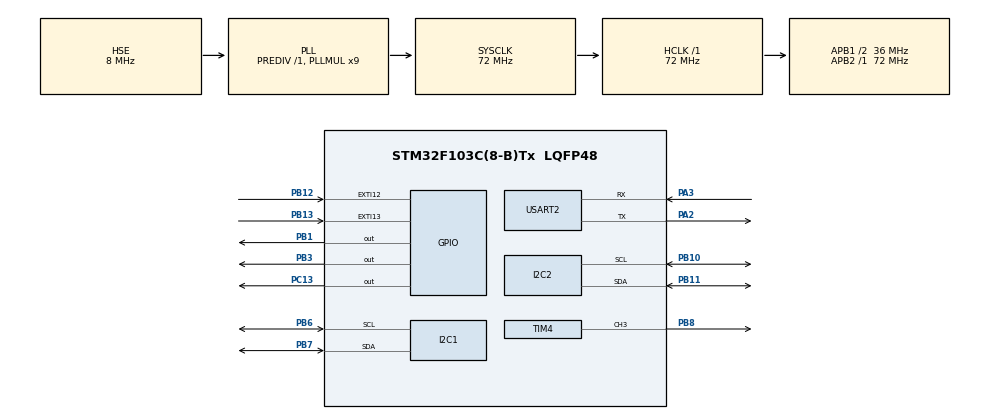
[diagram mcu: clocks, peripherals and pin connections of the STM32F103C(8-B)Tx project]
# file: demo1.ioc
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I2C1.I2C_Mode=I2C_Fast
I2C2.I2C_Mode=I2C_Fast
Mcu.Family=STM32F1
Mcu.Name=STM32F103C(8-B)Tx
Mcu.Package=LQFP48
NVIC.EXTI15_10_IRQn=true\:15\:0\:true\:false\:true\:true\:true\:true
NVIC.PriorityGroup=NVIC_PRIORITYGROUP_4
NVIC.USART2_IRQn=true\:0\:0\:false\:false\:true\:true\:true\:true
PA13.Mode=Serial_Wire
PA13.Signal=SYS_JTMS-SWDIO
PA14.Mode=Serial_Wire
PA14.Signal=SYS_JTCK-SWCLK
PA2.Mode=Asynchronous
PA2.Signal=USART2_TX
PA3.Mode=Asynchronous
PA3.Signal=USART2_RX
PB1.Signal=GPIO_Output
PB10.Mode=I2C
PB10.Signal=I2C2_SCL
PB11.Mode=I2C
PB11.Signal=I2C2_SDA
PB12.GPIO_ModeDefaultEXTI=GPIO_MODE_IT_FALLING
PB12.Signal=GPXTI12
PB13.GPIO_ModeDefaultEXTI=GPIO_MODE_IT_FALLING
PB13.GPIO_PuPd=GPIO_PULLUP
PB13.Signal=GPXTI13
PB3.Signal=GPIO_Output
PB6.Mode=I2C
PB6.Signal=I2C1_SCL
PB7.Mode=I2C
PB7.Signal=I2C1_SDA
PB8.Signal=S_TIM4_CH3
PC13-TAMPER-RTC.Signal=GPIO_Output
PD0-OSC_IN.Mode=HSE-External-Oscillator
PD0-OSC_IN.Signal=RCC_OSC_IN
PD1-OSC_OUT.Mode=HSE-External-Oscillator
PD1-OSC_OUT.Signal=RCC_OSC_OUT
ProjectManager.HeapSize=0x200
ProjectManager.StackSize=0x400
ProjectManager.TargetToolchain=MDK-ARM V5.32
RCC.AHBFreq_Value=72000000
RCC.APB1CLKDivider=RCC_HCLK_DIV2
RCC.APB1Freq_Value=36000000
RCC.APB1TimFreq_Value=72000000
RCC.APB2Freq_Value=72000000
RCC.APB2TimFreq_Value=72000000
RCC.HCLKFreq_Value=72000000
RCC.PLLMUL=RCC_PLL_MUL9
RCC.PLLSourceVirtual=RCC_PLLSOURCE_HSE
RCC.SYSCLKFreq_VALUE=72000000
RCC.SYSCLKSource=RCC_SYSCLKSOURCE_PLLCLK
RCC.USBFreq_Value=72000000
SH.S_TIM4_CH3.0=TIM4_CH3,PWM Generation3 CH3
TIM4.Channel-PWM\ Generation3\ CH3=TIM_CHANNEL_3
TIM4.Prescaler=720-1
USART2.VirtualMode=VM_ASYNC
VP_TIM4_VS_ClockSourceINT.Mode=Internal
board=custom

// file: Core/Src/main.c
/* USER CODE BEGIN Header */
/**
  ******************************************************************************
  * @file           : main.c
  * @brief          : Main program body
  ******************************************************************************
  * @attention
  *
  * Copyright (c) 2025 STMicroelectronics.
  * All rights reserved.
  *
  * This software is licensed under terms that can be found in the LICENSE file
  * in the root directory of this software component.
  * If no LICENSE file comes with this software, it is provided AS-IS.
  *
  ******************************************************************************
  */
/* USER CODE END Header */
#include "main.h"
#include "i2c.h"
#include "tim.h"
#include "usart.h"
#include "gpio.h"

/* USER CODE BEGIN Includes */
#include "oled.h"
#include "stdio.h"
#include "string.h"

/* USER CODE END Includes */

/* USER CODE BEGIN PD */
#define COUNT_MAX 40
#define ANGLE_MAX 180

 volatile uint8_t flag = 0;
 volatile uint8_t count=0;
 uint8_t receivedata[3]="";
 int angle=0;
/* USER CODE END PD */

void SystemClock_Config(void);

/* USER CODE BEGIN 0 */
void MPU6050_INIT()
{
HAL_Delay(100);
uint8_t SendAddress=0x6b;
uint8_t SendData=0x00;//解除休眠
HAL_I2C_Mem_Write(&hi2c2,0xD1,SendAddress,1,&SendData,1,0xff);

SendAddress=0x19;
SendData=0x07;//采样率分频器
HAL_I2C_Mem_Write(&hi2c2,0xD1,SendAddress,1,&SendData,1,0xff);

SendAddress=0x1A;
SendData=0x06;//低通滤波器
HAL_I2C_Mem_Write(&hi2c2,0xD1,SendAddress,1,&SendData,1,0xff);

SendAddress=0x1B;
SendData=0x08;//陀螺仪 +-500°
HAL_I2C_Mem_Write(&hi2c2,0xD1,SendAddress,1,&SendData,1,0xff);

SendAddress=0x1C;
SendData=0x00;//加速度计 +-2g
HAL_I2C_Mem_Write(&hi2c2,0xD1,SendAddress,1,&SendData,1,0xff);

}

void HAL_UART_RxCpltCallback(UART_HandleTypeDef *huart)
{
	HAL_UART_Transmit_IT(&huart2,receivedata,3);
	if(receivedata[0]=='0')
	{
		//angle=(int)receivedata[1]*10+(int)receivedata[2];
		angle=((int)receivedata[1]-48)*10+(int)receivedata[2]-48;

	}
	else if(receivedata[0]=='1')
	{
		angle=100+((int)receivedata[1]-48)*10+(int)receivedata[2]-48;

	}
	HAL_UART_Receive_IT(&huart2,receivedata,3);
}

/* USER CODE END 0 */

int main(void)
{

  /* MCU Configuration--------------------------------------------------------*/

  /* Reset of all peripherals, Initializes the Flash interface and the Systick. */
  HAL_Init();

  /* Configure the system clock */
  SystemClock_Config();

  /* Initialize all configured peripherals */
  MX_GPIO_Init();
  MX_I2C1_Init();
  MX_TIM4_Init();
  MX_I2C2_Init();
  MX_USART2_UART_Init();
  /* USER CODE BEGIN 2 */
  HAL_Delay(20);
  OLED_Init();

  char message[10]="";
  /*char acceleration_x[6]="";
  char acceleration_y[6]="";
  char acceleration_z[6]="";
  //char acceleration[30]="";
  //char gyroscope[30]="";
  char gyroscope_x[10]="";
  char gyroscope_y[10]="";
  char gyroscope_z[10]="";
  char all[60]="";*/
  int duty=0;
  char flag0[]="key mode";
  char flag1[]="usart mode";

  HAL_TIM_PWM_Start(&htim4,TIM_CHANNEL_3);
  uint8_t MPU_DATA[14]="";
  uint8_t StartAddress=0x3B;
  double ACCEL_XOUT=0.0,ACCEL_YOUT=0.0,ACCEL_ZOUT=0.0;
  double GYRO_XOUT=0.0,GYRO_YOUT=0.0,GYRO_ZOUT=0.0;
  HAL_UART_Receive_IT(&huart2,receivedata,3);
  MPU6050_INIT();

  /* USER CODE END 2 */

  /* Infinite loop */
  /* USER CODE BEGIN WHILE */
  while (1)
  {
	/* HAL_I2C_Mem_Read(&hi2c2,0xD1,StartAddress,I2C_MEMADD_SIZE_8BIT,MPU_DATA,14,50);
	float Temp=(MPU_DATA[6]<<8)|MPU_DATA[7];
	if(Temp>32768) Temp-=65536;
	Temp=(36.53+Temp/340);

	short int ACCEL_XOUT1=((MPU_DATA[0]<<8)|MPU_DATA[1]);ACCEL_XOUT=(double)ACCEL_XOUT1/16384;
	short int ACCEL_YOUT1=((MPU_DATA[2]<<8)|MPU_DATA[3]);ACCEL_YOUT=(double)ACCEL_YOUT1/16384;
	short int ACCEL_ZOUT1=((MPU_DATA[4]<<8)|MPU_DATA[5]);ACCEL_ZOUT=(double)ACCEL_ZOUT1/16384;

	short int GYRO_XOUT1=((MPU_DATA[8]<<8)|MPU_DATA[9]);GYRO_XOUT=(double)GYRO_XOUT1/65.5;
	short int GYRO_YOUT1=((MPU_DATA[10]<<8)|MPU_DATA[11]);GYRO_YOUT=(double)GYRO_YOUT1/65.5;
	short int GYRO_ZOUT1=((MPU_DATA[12]<<8)|MPU_DATA[13]);GYRO_ZOUT=(double)GYRO_ZOUT1/65.5;

	 //sprintf(acceleration,"acceleration x:%0.2f,y:%0.2f,z:%0.2f",ACCEL_XOUT,ACCEL_YOUT,ACCEL_ZOUT);
	 //sprintf(gyroscope,"gyroscope x:%0.2f,y:%0.2f,z:%0.2f",GYRO_XOUT,GYRO_YOUT,GYRO_ZOUT);
	 sprintf(all,"accel x:%0.2f,y:%0.2f,z:%0.2f\ngyro x:%0.2f,y:%0.2f,z:%0.2f",ACCEL_XOUT,ACCEL_YOUT,ACCEL_ZOUT,GYRO_XOUT,GYRO_YOUT,GYRO_ZOUT);

	 sprintf(acceleration_x,"x:%0.2f",ACCEL_XOUT);
	 sprintf(acceleration_y,"y:%0.2f",ACCEL_YOUT);
	 sprintf(acceleration_z,"z:%0.2f",ACCEL_ZOUT);

	 sprintf(gyroscope_x,"x:%0.2f",GYRO_XOUT);
	 sprintf(gyroscope_y,"y:%0.2f",GYRO_YOUT);
	 sprintf(gyroscope_z,"z:%0.2f",GYRO_ZOUT);

	// HAL_UART_Transmit_IT(&huart2,(uint8_t*)gyroscope,strlen(acceleration));

	  if(HAL_GPIO_ReadPin(GPIOB,GPIO_PIN_12)==GPIO_PIN_RESET)
  {
	  HAL_Delay(10);
	  if(HAL_GPIO_ReadPin(GPIOB,GPIO_PIN_12)==GPIO_PIN_RESET)
	  {
		  flag+=1;
		  if(flag>1)
		  {flag=0;}
		  while(HAL_GPIO_ReadPin(GPIOB,GPIO_PIN_12)==GPIO_PIN_RESET){};
	  }
  }
	static uint32_t last_display_time = 0;
if(HAL_GetTick() - last_display_time > 100) { // 每50ms更新一次显示
    last_display_time = HAL_GetTick();
	OLED_NewFrame();
  if(flag==0)
  {
	  OLED_PrintString(0,0,"acceleration",&font16x16,OLED_COLOR_NORMAL);
	  OLED_PrintString(0,16,acceleration_x,&font16x16,OLED_COLOR_NORMAL);
      OLED_PrintString(0,32,acceleration_y,&font16x16,OLED_COLOR_NORMAL);
      OLED_PrintString(0,48,acceleration_z,&font16x16,OLED_COLOR_NORMAL);
  }
  else if(flag==1)
  {

	  OLED_PrintString(0,0,"gyroscope",&font16x16,OLED_COLOR_NORMAL);
	  OLED_PrintString(0,16,gyroscope_x,&font16x16,OLED_COLOR_NORMAL);
	  OLED_PrintString(0,32,gyroscope_y,&font16x16,OLED_COLOR_NORMAL);
	  OLED_PrintString(0,48,gyroscope_z,&font16x16,OLED_COLOR_NORMAL);
  }
	  OLED_ShowFrame();
    HAL_UART_Transmit_IT(&huart2,(uint8_t*)all,strlen(all));
  }
*/

  /*if(HAL_GPIO_ReadPin(GPIOB,GPIO_PIN_12)==GPIO_PIN_RESET)
  {
	  HAL_Delay(10);
	  if(HAL_GPIO_ReadPin(GPIOB,GPIO_PIN_12)==GPIO_PIN_RESET)
	  {
		  count+=1;
		  if(count>COUNT_MAX)
		  {count=0;}
		  while(HAL_GPIO_ReadPin(GPIOB,GPIO_PIN_12)==GPIO_PIN_RESET){};
	  }
  }*/

    /*if(HAL_GPIO_ReadPin(GPIOB,GPIO_PIN_13)==GPIO_PIN_RESET)
  {
	  HAL_Delay(10);
	  if(HAL_GPIO_ReadPin(GPIOB,GPIO_PIN_13)==GPIO_PIN_RESET)
	  {
		  count-=1;
		  if(count<0)
		  {count=COUNT_MAX;}
		  while(HAL_GPIO_ReadPin(GPIOB,GPIO_PIN_13)==GPIO_PIN_RESET){};
	  }
  }*/

    //__HAL_TIM_SET_COMPARE(&htim4,TIM_CHANNEL_3,150);
	if(flag==0)
  {
	  angle=180/(float)COUNT_MAX*count;
	  duty=(10*count/(float)COUNT_MAX+2.5)/100.0*2000;
  __HAL_TIM_SET_COMPARE(&htim4,TIM_CHANNEL_3,duty);
	 OLED_NewFrame();

  sprintf(message,"angle:%d",angle);

  	static uint32_t last_display_time = 0;
if(HAL_GetTick() - last_display_time > 2000) { // 每50ms更新一次显示
    last_display_time = HAL_GetTick();

  if(angle>120)
  {
	  HAL_GPIO_WritePin(GPIOB,GPIO_PIN_3,GPIO_PIN_SET);
	  HAL_Delay(100);
	  HAL_GPIO_WritePin(GPIOB,GPIO_PIN_3,GPIO_PIN_RESET);
	  HAL_Delay(100);
	  HAL_GPIO_WritePin(GPIOB,GPIO_PIN_1,GPIO_PIN_SET);
	  HAL_Delay(100);
	  HAL_GPIO_WritePin(GPIOB,GPIO_PIN_1,GPIO_PIN_RESET);
	  HAL_Delay(100);

  }
  else if(angle<60)
  {

	  HAL_GPIO_WritePin(GPIOB,GPIO_PIN_3,GPIO_PIN_SET);
	  HAL_Delay(100);
	  HAL_GPIO_WritePin(GPIOB,GPIO_PIN_3,GPIO_PIN_RESET);
	  HAL_Delay(100);
	  HAL_GPIO_WritePin(GPIOB,GPIO_PIN_1,GPIO_PIN_SET);
	  HAL_Delay(100);
	  HAL_GPIO_WritePin(GPIOB,GPIO_PIN_1,GPIO_PIN_RESET);
	  HAL_Delay(100);
  }
   else if(60<=angle&&angle<=120)
  {

	  HAL_GPIO_WritePin(GPIOC,GPIO_PIN_13,GPIO_PIN_SET);
	  HAL_Delay(100);
	  HAL_GPIO_WritePin(GPIOC,GPIO_PIN_13,GPIO_PIN_RESET);
	  HAL_Delay(100);
	  HAL_GPIO_WritePin(GPIOB,GPIO_PIN_1,GPIO_PIN_SET);
	  HAL_Delay(100);
	  HAL_GPIO_WritePin(GPIOB,GPIO_PIN_1,GPIO_PIN_RESET);
	  HAL_Delay(100);
  }
  }
	  OLED_PrintString(0,40,flag0,&font16x16,OLED_COLOR_NORMAL);
   if(angle>120)
  {
	  OLED_PrintString(0,0,"左偏角过大",&font16x16,OLED_COLOR_NORMAL);

  }
  else if(angle<60)
  {
	  OLED_PrintString(0,0,"右偏角过大",&font16x16,OLED_COLOR_NORMAL);

  }
   else if(60<=angle&&angle<=120)
  {
	  OLED_PrintString(0,0,"姿态正常",&font16x16,OLED_COLOR_NORMAL);

  }
  OLED_PrintString(0,20,message,&font16x16,OLED_COLOR_NORMAL);
  //OLED_PrintString(0,40,mesg,&font16x16,OLED_COLOR_NORMAL);

  OLED_ShowFrame();

  }
  else if(flag==1)
  {
	   OLED_NewFrame();
	  duty=(10*angle/(float)ANGLE_MAX+2.5)/100.0*2000;
  __HAL_TIM_SET_COMPARE(&htim4,TIM_CHANNEL_3,duty);

  sprintf(message,"angle:%d",angle);

  	static uint32_t last_display_time = 0;
if(HAL_GetTick() - last_display_time > 2000) {
    last_display_time = HAL_GetTick();

  if(angle>120)
  {
	  HAL_GPIO_WritePin(GPIOB,GPIO_PIN_3,GPIO_PIN_SET);
	  HAL_Delay(100);
	  HAL_GPIO_WritePin(GPIOB,GPIO_PIN_3,GPIO_PIN_RESET);
	  HAL_Delay(100);
	  HAL_GPIO_WritePin(GPIOB,GPIO_PIN_1,GPIO_PIN_SET);
	  HAL_Delay(100);
	  HAL_GPIO_WritePin(GPIOB,GPIO_PIN_1,GPIO_PIN_RESET);
	  HAL_Delay(100);

  }
  else if(angle<60)
  {

	  HAL_GPIO_WritePin(GPIOB,GPIO_PIN_3,GPIO_PIN_SET);
	  HAL_Delay(100);
	  HAL_GPIO_WritePin(GPIOB,GPIO_PIN_3,GPIO_PIN_RESET);
	  HAL_Delay(100);
	  HAL_GPIO_WritePin(GPIOB,GPIO_PIN_1,GPIO_PIN_SET);
	  HAL_Delay(100);
	  HAL_GPIO_WritePin(GPIOB,GPIO_PIN_1,GPIO_PIN_RESET);
	  HAL_Delay(100);
  }
   else if(60<=angle&&angle<=120)
  {

	  HAL_GPIO_WritePin(GPIOC,GPIO_PIN_13,GPIO_PIN_SET);
	  HAL_Delay(100);
	  HAL_GPIO_WritePin(GPIOC,GPIO_PIN_13,GPIO_PIN_RESET);
	  HAL_Delay(100);
	  HAL_GPIO_WritePin(GPIOB,GPIO_PIN_1,GPIO_PIN_SET);
	  HAL_Delay(100);
	  HAL_GPIO_WritePin(GPIOB,GPIO_PIN_1,GPIO_PIN_RESET);
	  HAL_Delay(100);
  }
  }
	  OLED_PrintString(0,40,flag1,&font16x16,OLED_COLOR_NORMAL);
   if(angle>120)
  {
	  OLED_PrintString(0,0,"左偏角过大",&font16x16,OLED_COLOR_NORMAL);

  }
  else if(angle<60)
  {
	  OLED_PrintString(0,0,"右偏角过大",&font16x16,OLED_COLOR_NORMAL);

  }
   else if(60<=angle&&angle<=120)
  {
	  OLED_PrintString(0,0,"姿态正常",&font16x16,OLED_COLOR_NORMAL);

  }
  OLED_PrintString(0,20,message,&font16x16,OLED_COLOR_NORMAL);
  //OLED_PrintString(0,40,mesg,&font16x16,OLED_COLOR_NORMAL);

  OLED_ShowFrame();
  }

 /* OLED_NewFrame();

  sprintf(message,"angle:%d",angle);

  	static uint32_t last_display_time = 0;
if(HAL_GetTick() - last_display_time > 2000) { // 每50ms更新一次显示
    last_display_time = HAL_GetTick();

  if(angle>120)
  {
	  HAL_GPIO_WritePin(GPIOB,GPIO_PIN_3,GPIO_PIN_SET);
	  HAL_Delay(100);
	  HAL_GPIO_WritePin(GPIOB,GPIO_PIN_3,GPIO_PIN_RESET);
	  HAL_Delay(100);
	  HAL_GPIO_WritePin(GPIOB,GPIO_PIN_1,GPIO_PIN_SET);
	  HAL_Delay(100);
	  HAL_GPIO_WritePin(GPIOB,GPIO_PIN_1,GPIO_PIN_RESET);
	  HAL_Delay(100);

  }
  else if(angle<60)
  {

	  HAL_GPIO_WritePin(GPIOB,GPIO_PIN_3,GPIO_PIN_SET);
	  HAL_Delay(100);
	  HAL_GPIO_WritePin(GPIOB,GPIO_PIN_3,GPIO_PIN_RESET);
	  HAL_Delay(100);
	  HAL_GPIO_WritePin(GPIOB,GPIO_PIN_1,GPIO_PIN_SET);
	  HAL_Delay(100);
	  HAL_GPIO_WritePin(GPIOB,GPIO_PIN_1,GPIO_PIN_RESET);
	  HAL_Delay(100);
  }
   else if(60<=angle&&angle<=120)
  {

	  HAL_GPIO_WritePin(GPIOC,GPIO_PIN_13,GPIO_PIN_SET);
	  HAL_Delay(100);
	  HAL_GPIO_WritePin(GPIOC,GPIO_PIN_13,GPIO_PIN_RESET);
	  HAL_Delay(100);
	  HAL_GPIO_WritePin(GPIOB,GPIO_PIN_1,GPIO_PIN_SET);
	  HAL_Delay(100);
	  HAL_GPIO_WritePin(GPIOB,GPIO_PIN_1,GPIO_PIN_RESET);
	  HAL_Delay(100);
  }
  }*/
  /*if(angle>120)
  {
	  OLED_PrintString(0,0,"左偏角过大",&font16x16,OLED_COLOR_NORMAL);
	  HAL_GPIO_WritePin(GPIOB,GPIO_PIN_3,GPIO_PIN_SET);
  }
  else if(angle<30)
  {
	  OLED_PrintString(0,0,"右偏角过大",&font16x16,OLED_COLOR_NORMAL);
	  HAL_GPIO_WritePin(GPIOB,GPIO_PIN_3,GPIO_PIN_SET);
  }
   else if(30<=angle&&angle<=120)
  {
	  OLED_PrintString(0,0,"姿态正常",&font16x16,OLED_COLOR_NORMAL);
	  HAL_GPIO_WritePin(GPIOB,GPIO_PIN_3,GPIO_PIN_RESET);
  }*/

  //OLED_PrintString(0,20,"右偏角过大",&font16x16,OLED_COLOR_NORMAL);
  //OLED_PrintString(0,40,"姿态正常",&font16x16,OLED_COLOR_NORMAL);

   /*if(angle>120)
  {
	  OLED_PrintString(0,0,"左偏角过大",&font16x16,OLED_COLOR_NORMAL);

  }
  else if(angle<60)
  {
	  OLED_PrintString(0,0,"右偏角过大",&font16x16,OLED_COLOR_NORMAL);

  }
   else if(60<=angle&&angle<=120)
  {
	  OLED_PrintString(0,0,"姿态正常",&font16x16,OLED_COLOR_NORMAL);

  }
  OLED_PrintString(0,20,message,&font16x16,OLED_COLOR_NORMAL);
  //OLED_PrintString(0,40,mesg,&font16x16,OLED_COLOR_NORMAL);

  OLED_ShowFrame();*/

    /* USER CODE END WHILE */

  }
}

void SystemClock_Config(void)
{
  RCC_OscInitTypeDef RCC_OscInitStruct = {0};
  RCC_ClkInitTypeDef RCC_ClkInitStruct = {0};

  /** Initializes the RCC Oscillators according to the specified parameters
  * in the RCC_OscInitTypeDef structure.
  */
  RCC_OscInitStruct.OscillatorType = RCC_OSCILLATORTYPE_HSE;
  RCC_OscInitStruct.HSEState = RCC_HSE_ON;
  RCC_OscInitStruct.HSEPredivValue = RCC_HSE_PREDIV_DIV1;
  RCC_OscInitStruct.HSIState = RCC_HSI_ON;
  RCC_OscInitStruct.PLL.PLLState = RCC_PLL_ON;
  RCC_OscInitStruct.PLL.PLLSource = RCC_PLLSOURCE_HSE;
  RCC_OscInitStruct.PLL.PLLMUL = RCC_PLL_MUL9;
  if (HAL_RCC_OscConfig(&RCC_OscInitStruct) != HAL_OK)
  {
    Error_Handler();
  }

  /** Initializes the CPU, AHB and APB buses clocks
  */
  RCC_ClkInitStruct.ClockType = RCC_CLOCKTYPE_HCLK|RCC_CLOCKTYPE_SYSCLK
                              |RCC_CLOCKTYPE_PCLK1|RCC_CLOCKTYPE_PCLK2;
  RCC_ClkInitStruct.SYSCLKSource = RCC_SYSCLKSOURCE_PLLCLK;
  RCC_ClkInitStruct.AHBCLKDivider = RCC_SYSCLK_DIV1;
  RCC_ClkInitStruct.APB1CLKDivider = RCC_HCLK_DIV2;
  RCC_ClkInitStruct.APB2CLKDivider = RCC_HCLK_DIV1;

  if (HAL_RCC_ClockConfig(&RCC_ClkInitStruct, FLASH_LATENCY_2) != HAL_OK)
  {
    Error_Handler();
  }
}

void Error_Handler(void)
{
  __disable_irq();
  while (1)
  {
  }
}
